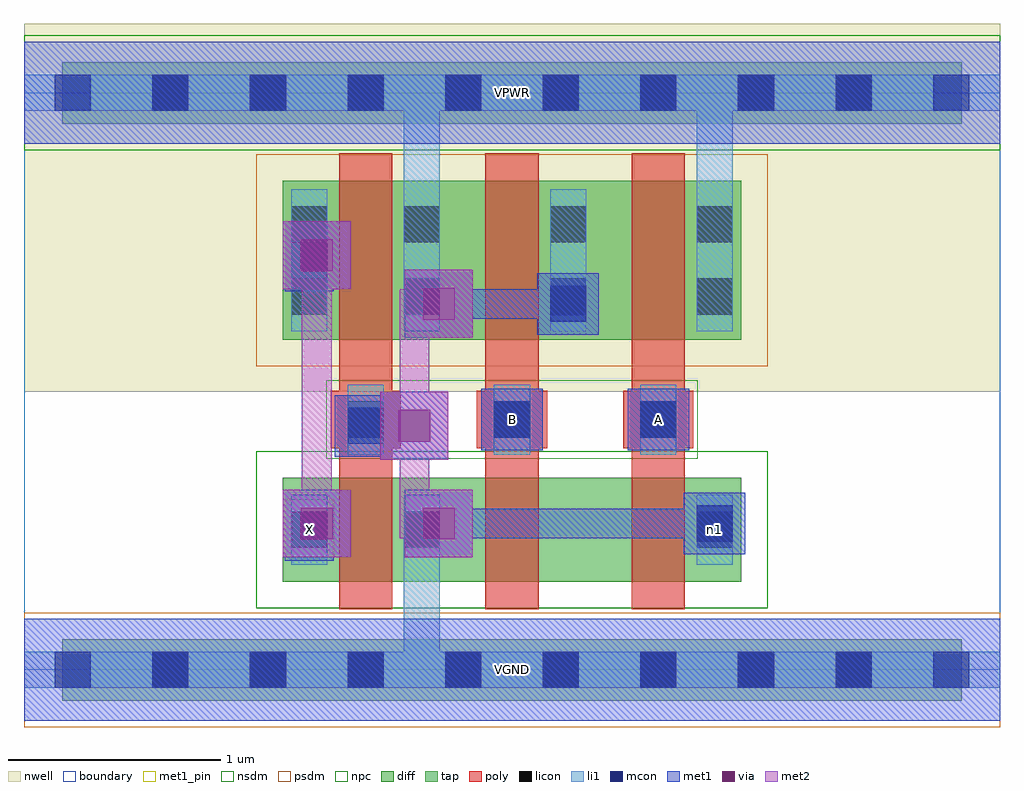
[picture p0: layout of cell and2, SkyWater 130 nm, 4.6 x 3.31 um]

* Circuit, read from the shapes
.subckt and2 A B VGND VPWR X n1
XM1 VGND n1 X VGND sky130_fd_pr__nfet_01v8 w=0.49 l=0.25
XM2 n2 B VGND VGND sky130_fd_pr__nfet_01v8 w=0.49 l=0.25
XM3 n1 A n2 VGND sky130_fd_pr__nfet_01v8 w=0.49 l=0.25
XM4 VPWR n1 X VPWR sky130_fd_pr__pfet_01v8 w=0.75 l=0.25
XM5 n1 B VPWR VPWR sky130_fd_pr__pfet_01v8 w=0.75 l=0.25
XM6 VPWR A n1 VPWR sky130_fd_pr__pfet_01v8 w=0.75 l=0.25
.ends

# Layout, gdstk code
import gdstk
lib = gdstk.Library(unit=1e-6, precision=1e-09)
def R(c, l, rs):  # rectangles x0, y0, x1, y1
    for r in rs: c.add(gdstk.rectangle(r[:2], r[2:], *l))
def A(c, l, x, y, w, h, nx, ny, dx, dy):  # array of equal rectangles
    R(c, l, [(x+i*dx, y+j*dy, x+i*dx+w, y+j*dy+h) for i in range(nx) for j in range(ny)])
nwell = (64, 20)
diff = (65, 20)
tap = (65, 44)
poly = (66, 20)
licon = (66, 44)
li1 = (67, 20)
mcon = (67, 44)
met1_pin = (68, 16)
met1 = (68, 20)
via = (68, 44)
met2 = (69, 20)
nsdm = (93, 44)
psdm = (94, 20)
npc = (95, 20)
boundary = (235, 4)

and2 = lib.new_cell('and2')
R(and2, nwell, [(0,1.31,4.6,3.045)])
R(and2, diff, [(1.22,0.415,3.38,0.905), (1.22,1.555,3.38,2.305)])
R(and2, tap, [(0.18,-0.145,4.42,0.145), (0.18,2.575,4.42,2.865)])
A(and2, poly, 1.485, 0.285, 0.25, 2.15, 3, 1, 0.69, 0)
A(and2, poly, 1.445, 1.045, 0.33, 0.27, 3, 1, 0.69, 0)
A(and2, licon, 0.605, -0.085, 0.17, 0.17, 8, 2, 0.46, 2.72)
A(and2, licon, 1.525, 1.095, 0.17, 0.17, 3, 1, 0.69, 0)
A(and2, licon, 1.79, 1.675, 0.17, 0.17, 3, 2, 0.69, 0.34)
R(and2, licon, [(1.26,0.575,1.43,0.745), (1.79,0.575,1.96,0.745), (3.17,0.575,3.34,0.745), (1.26,1.675,1.43,1.845), (1.26,2.015,1.43,2.185)])
A(and2, li1, 1.525, 1.015, 0.17, 0.33, 3, 1, 0.69, 0)
A(and2, li1, 1.79, 1.595, 0.17, 0.67, 3, 1, 0.69, 0)
R(and2, li1, [(0,-0.085,4.6,0.085), (1.79,-0.085,1.96,0.825), (1.26,0.495,1.43,0.825), (1.79,0.495,1.96,0.825), (3.17,0.495,3.34,0.825), (1.26,1.595,1.43,2.265), (1.79,1.595,1.96,2.805), (3.17,1.595,3.34,2.805), (0,2.635,4.6,2.805)])
A(and2, mcon, 0.145, -0.085, 0.17, 0.17, 10, 2, 0.46, 2.72)
R(and2, mcon, [(1.26,0.575,1.43,0.745), (3.17,0.605,3.34,0.775), (1.525,1.065,1.695,1.235), (2.215,1.095,2.385,1.265), (2.905,1.095,3.075,1.265), (2.48,1.64,2.65,1.81), (1.26,1.845,1.43,2.015)])
R(and2, met1_pin, [(0,-0.24,4.6,0.24), (1.23,0.515,1.46,0.805), (2.155,1.035,2.445,1.325), (2.845,1.035,3.135,1.325), (0,2.48,4.6,2.96)])
R(and2, met1, [(0,-0.24,4.6,0.24), (1.23,0.515,1.46,0.805), (1.22,0.53,1.54,0.85), (1.795,0.53,2.115,0.85), (3.11,0.545,3.4,0.835), (1.31,0.62,1.45,0.76), (1.885,0.62,3.175,0.76), (3.035,0.62,3.325,0.76), (1.68,0.99,2,1.31), (1.465,1.005,1.755,1.295), (2.155,1.035,2.445,1.325), (2.845,1.035,3.135,1.325), (1.54,1.08,1.91,1.22), (1.795,1.565,2.115,1.885), (2.42,1.58,2.71,1.87), (1.885,1.655,2.485,1.795), (2.345,1.655,2.635,1.795), (1.23,1.785,1.46,2.075), (1.22,1.795,1.54,2.115), (1.31,1.885,1.45,2.025), (0,2.48,4.6,2.96)])
R(and2, via, [(1.305,0.615,1.455,0.765), (1.88,0.615,2.03,0.765), (1.765,1.075,1.915,1.225), (1.88,1.65,2.03,1.8), (1.305,1.88,1.455,2.03)])
R(and2, met2, [(1.22,0.53,1.54,0.85), (1.795,0.53,2.115,0.85), (1.31,0.62,1.45,2.025), (1.77,0.62,2.025,0.76), (1.77,0.62,1.91,1.22), (1.68,0.99,2,1.31), (1.77,1.08,1.91,1.795), (1.795,1.565,2.115,1.885), (1.77,1.655,2.025,1.795), (1.22,1.795,1.54,2.115)])
R(and2, nsdm, [(1.095,0.29,3.505,1.03), (0,2.45,4.6,2.99)])
R(and2, psdm, [(0,-0.27,4.6,0.27), (1.095,1.43,3.505,2.43)])
R(and2, npc, [(1.425,0.995,3.175,1.365)])
R(and2, boundary, [(0,0,4.6,2.72)])
and2.add(gdstk.Label('n1', (3.255,0.66), layer=67, texttype=5))
and2.add(gdstk.Label('A', (2.99,1.18), layer=68, texttype=5))
and2.add(gdstk.Label('B', (2.3,1.18), layer=68, texttype=5))
and2.add(gdstk.Label('X', (1.345,0.66), layer=68, texttype=5))
and2.add(gdstk.Label('VPWR', (2.3,2.72), layer=68, texttype=5))
and2.add(gdstk.Label('VGND', (2.3,0), layer=68, texttype=5))
and2.add(gdstk.Label('A', (2.99,1.18), layer=68, texttype=16))
and2.add(gdstk.Label('B', (2.3,1.18), layer=68, texttype=16))
and2.add(gdstk.Label('X', (1.345,0.66), layer=68, texttype=16))
and2.add(gdstk.Label('VPWR', (2.3,2.72), layer=68, texttype=16))
and2.add(gdstk.Label('VGND', (2.3,0), layer=68, texttype=16))

lib.write_gds('and2.gds')
